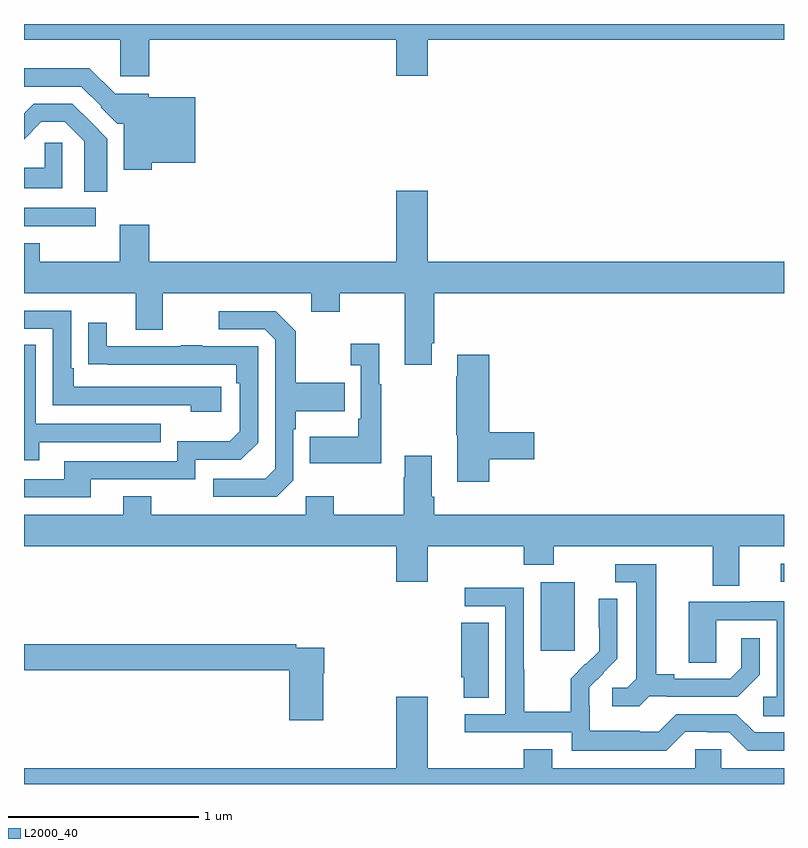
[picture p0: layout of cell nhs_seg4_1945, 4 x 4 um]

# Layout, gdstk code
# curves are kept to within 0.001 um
import gdstk
lib = gdstk.Library(unit=1e-6, precision=1e-09)
def R(c, l, rs):  # rectangles x0, y0, x1, y1
    for r in rs: c.add(gdstk.rectangle(r[:2], r[2:], *l))
def P(c, l, *ps):  # polygons
    for p in ps: c.add(gdstk.Polygon(p, *l))
L2000_40 = (2000, 40)

nhs_seg4_1945 = lib.new_cell('nhs_seg4_1945')
R(nhs_seg4_1945, L2000_40, [(213.719,797.601,213.898,797.962), (214.983,797.964,215,798.06), (211,799.836,211.378,799.932)])
P(nhs_seg4_1945, L2000_40, [(211.658,800.816),(212.96,800.816),(212.96,800.628),(213.124,800.628),(213.124,800.816),(215,800.816),(215,800.9),(211,800.9),(211,800.816),(211.507,800.816),(211.507,800.625),(211.658,800.625)],
  [(211.673,800.171),(211.9,800.171),(211.9,800.515),(211.656,800.515),(211.656,800.532),(211.479,800.532),(211.343,800.668),(211,800.668),(211,800.571),(211.302,800.571),(211.407,800.466),(211.404,800.463),(211.492,800.376),(211.526,800.376),(211.526,800.132),(211.673,800.132)],
  [(211.438,800.297),(211.35,800.385),(211.351,800.385),(211.255,800.481),(211.052,800.481),(211,800.429),(211,800.293),(211.092,800.385),(211.215,800.385),(211.317,800.284),(211.317,800.017),(211.438,800.017)],
  [(211.202,800.275),(211.108,800.275),(211.108,800.143),(211,800.143),(211,800.036),(211.202,800.036)],
  [(213.145,799.219),(213.158,799.219),(213.158,799.484),(215,799.484),(215,799.648),(213.124,799.648),(213.124,800.023),(212.96,800.023),(212.96,799.648),(211.658,799.648),(211.658,799.843),(211.505,799.843),(211.505,799.648),(211.083,799.648),(211.083,799.747),(211,799.747),(211,799.484),(211.589,799.484),(211.589,799.29),(211.729,799.29),(211.729,799.484),(212.513,799.484),(212.513,799.385),(212.661,799.385),(212.661,799.484),(213.005,799.484),(213.005,799.107),(213.145,799.107)],
  [(212.038,798.99),(211.261,798.99),(211.261,799.087),(211.248,799.087),(211.248,799.392),(211,799.392),(211,799.296),(211.152,799.296),(211.152,798.894),(211.877,798.894),(211.877,798.86),(212.038,798.86)],
  [(212.418,798.498),(212.418,798.767),(212.431,798.767),(212.431,798.863),(212.687,798.863),(212.687,799.011),(212.431,799.011),(212.431,799.283),(212.325,799.389),(212.025,799.389),(212.025,799.293),(212.268,799.293),(212.322,799.239),(212.322,798.558),(212.271,798.507),(211.995,798.507),(211.995,798.411),(212.331,798.411)],
  [(211.351,798.504),(211.902,798.504),(211.902,798.606),(212.142,798.606),(212.232,798.696),(212.232,799.203),(211.937,799.203),(211.937,799.208),(211.825,799.208),(211.825,799.203),(211.435,799.203),(211.435,799.327),(211.339,799.327),(211.339,799.108),(212.116,799.107),(212.116,799.01),(212.136,799.01),(212.136,798.756),(212.083,798.703),(211.806,798.703),(211.806,798.6),(211.211,798.6),(211.211,798.504),(211,798.504),(211,798.408),(211.351,798.408)],
  [(212.881,799.003),(212.869,799.003),(212.869,799.216),(212.721,799.216),(212.721,799.103),(212.772,799.103),(212.772,798.823),(212.76,798.823),(212.76,798.727),(212.503,798.727),(212.503,798.587),(212.881,798.587)],
  [(211.081,798.699),(211.721,798.699),(211.721,798.795),(211.062,798.795),(211.062,799.211),(211,799.211),(211,798.605),(211.081,798.605)],
  [(213.449,798.61),(213.685,798.61),(213.685,798.752),(213.449,798.752),(213.449,799.159),(213.281,799.159),(213.281,799.046),(213.274,799.046),(213.274,798.735),(213.281,798.735),(213.281,798.492),(213.449,798.492)],
  [(214.765,798.152),(215,798.152),(215,798.316),(213.158,798.316),(213.158,798.412),(213.145,798.412),(213.145,798.628),(213.005,798.628),(213.005,798.515),(212.998,798.515),(212.998,798.316),(212.631,798.316),(212.631,798.415),(212.484,798.415),(212.484,798.316),(211.671,798.316),(211.671,798.415),(211.523,798.415),(211.523,798.316),(211,798.316),(211,798.152),(212.96,798.152),(212.96,797.964),(213.124,797.964),(213.124,798.152),(213.629,798.152),(213.629,798.053),(213.789,798.053),(213.789,798.152),(214.625,798.152),(214.625,797.944),(214.765,797.944)],
  [(214.29,797.361),(214.384,797.361),(214.384,797.358),(214.756,797.358),(214.872,797.474),(214.872,797.668),(214.775,797.668),(214.775,797.511),(214.718,797.454),(214.423,797.454),(214.423,797.477),(214.327,797.477),(214.327,798.057),(214.113,798.057),(214.113,797.961),(214.223,797.961),(214.223,797.453),(214.176,797.406),(214.095,797.406),(214.095,797.309),(214.238,797.309)],
  [(214.479,797.175),(214.595,797.175),(214.595,797.172),(214.713,797.172),(214.809,797.076),(215,797.076),(215,797.172),(214.845,797.172),(214.749,797.268),(214.434,797.268),(214.341,797.175),(214.241,797.175),(214.241,797.179),(213.978,797.179),(213.978,797.313),(213.976,797.313),(213.976,797.41),(214.122,797.558),(214.122,797.876),(214.026,797.876),(214.026,797.722),(214.028,797.722),(214.028,797.6),(213.957,797.529),(213.954,797.532),(213.877,797.455),(213.877,797.281),(213.633,797.281),(213.633,797.504),(213.63,797.504),(213.63,797.934),(213.321,797.934),(213.321,797.835),(213.534,797.835),(213.534,797.268),(213.321,797.268),(213.321,797.172),(213.882,797.172),(213.882,797.075),(214.379,797.075)],
  [(215,797.863),(214.823,797.863),(214.823,797.859),(214.499,797.859),(214.499,797.539),(214.644,797.539),(214.644,797.763),(214.962,797.763),(214.962,797.358),(214.89,797.358),(214.89,797.257),(215,797.257)],
  [(213.445,797.75),(213.302,797.75),(213.302,797.461),(213.314,797.461),(213.314,797.353),(213.445,797.353)],
  [(212.574,797.483),(212.579,797.483),(212.579,797.616),(212.432,797.616),(212.432,797.636),(211,797.636),(211,797.5),(212.396,797.5),(212.396,797.235),(212.574,797.235)],
  [(215,796.984),(214.671,796.984),(214.671,797.082),(214.533,797.082),(214.533,796.984),(213.781,796.984),(213.781,797.083),(213.629,797.083),(213.629,796.984),(213.124,796.984),(213.124,797.359),(212.96,797.359),(212.96,796.984),(211,796.984),(211,796.9),(215,796.9)])

lib.write_gds('nhs_seg4_1945.gds')
